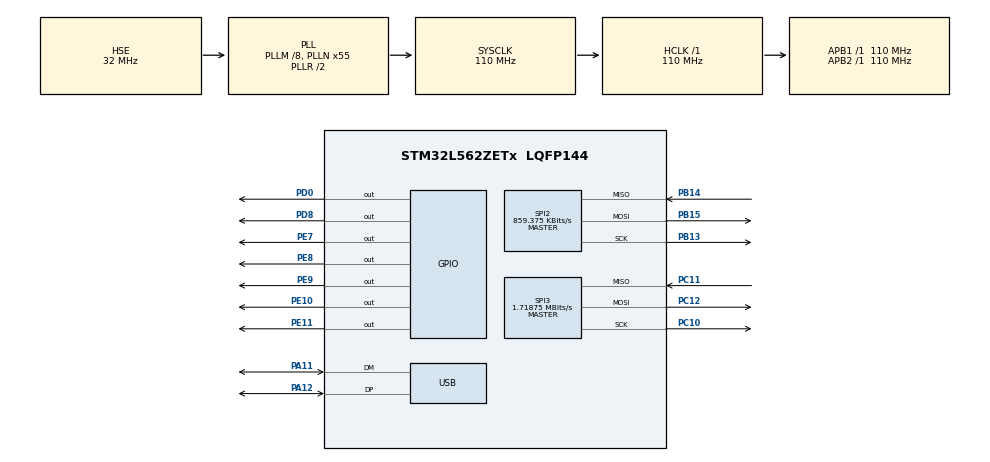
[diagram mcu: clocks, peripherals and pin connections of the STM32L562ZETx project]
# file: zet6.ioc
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Mcu.Family=STM32L5
Mcu.Name=STM32L562ZETx
Mcu.Package=LQFP144
NVIC.ICACHE_IRQn=true\:0\:0\:false\:false\:true\:true\:true\:true
NVIC.PriorityGroup=NVIC_PRIORITYGROUP_3
PA11.Mode=Device
PA11.Signal=USB_DM
PA12.Mode=Device
PA12.Signal=USB_DP
PB13.Mode=Full_Duplex_Master
PB13.Signal=SPI2_SCK
PB14.Mode=Full_Duplex_Master
PB14.Signal=SPI2_MISO
PB15.Mode=Full_Duplex_Master
PB15.Signal=SPI2_MOSI
PC10.Mode=Full_Duplex_Master
PC10.Signal=SPI3_SCK
PC11.Mode=Full_Duplex_Master
PC11.Signal=SPI3_MISO
PC12.Mode=Full_Duplex_Master
PC12.Signal=SPI3_MOSI
PD0.PinState=GPIO_PIN_SET
PD0.Signal=GPIO_Output
PD8.Signal=GPIO_Output
PE10.PinState=GPIO_PIN_RESET
PE10.Signal=GPIO_Output
PE11.PinState=GPIO_PIN_RESET
PE11.Signal=GPIO_Output
PE7.PinState=GPIO_PIN_RESET
PE7.Signal=GPIO_Output
PE8.PinState=GPIO_PIN_RESET
PE8.Signal=GPIO_Output
PE9.PinState=GPIO_PIN_RESET
PE9.Signal=GPIO_Output
PH0-OSC_IN\ (PH0).Mode=HSE-External-Oscillator
PH0-OSC_IN\ (PH0).Signal=RCC_OSC_IN
PH1-OSC_OUT\ (PH1).Mode=HSE-External-Oscillator
PH1-OSC_OUT\ (PH1).Signal=RCC_OSC_OUT
ProjectManager.HeapSize=0x200
ProjectManager.StackSize=0x400
ProjectManager.TargetToolchain=STM32CubeIDE
RCC.ADCFreq_Value=48000000
RCC.AHBFreq_Value=110000000
RCC.APB1Freq_Value=110000000
RCC.APB1TimFreq_Value=110000000
RCC.APB2Freq_Value=110000000
RCC.APB2TimFreq_Value=110000000
RCC.CK48CLockSelection=RCC_USBCLKSOURCE_HSI48
RCC.CortexFreq_Value=110000000
RCC.HCLKFreq_Value=110000000
RCC.HSE_VALUE=32000000
RCC.HSI48_VALUE=48000000
RCC.HSI_VALUE=16000000
RCC.LSE_VALUE=32768
RCC.MSI_VALUE=4000000
RCC.PLLM=8
RCC.PLLN=55
RCC.PLLSAI1N=24
RCC.PLLSourceVirtual=RCC_PLLSOURCE_HSE
RCC.SYSCLKFreq_VALUE=110000000
RCC.SYSCLKSource=RCC_SYSCLKSOURCE_PLLCLK
RCC.USBFreq_Value=48000000
RCC.VCOOutputFreq_Value=220000000
SPI2.BaudRatePrescaler=SPI_BAUDRATEPRESCALER_128
SPI2.CalculateBaudRate=859.375 KBits/s
SPI2.DataSize=SPI_DATASIZE_8BIT
SPI2.Direction=SPI_DIRECTION_2LINES
SPI2.Mode=SPI_MODE_MASTER
SPI2.NSSPMode=SPI_NSS_PULSE_DISABLE
SPI2.VirtualType=VM_MASTER
SPI3.BaudRatePrescaler=SPI_BAUDRATEPRESCALER_64
SPI3.CalculateBaudRate=1.71875 MBits/s
SPI3.DataSize=SPI_DATASIZE_8BIT
SPI3.Direction=SPI_DIRECTION_2LINES
SPI3.Mode=SPI_MODE_MASTER
SPI3.NSSPMode=SPI_NSS_PULSE_DISABLE
SPI3.VirtualType=VM_MASTER
VP_ICACHE_VS_ICACHE.Mode=DirectMappedCache
board=custom

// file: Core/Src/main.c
/* USER CODE BEGIN Header */
/**
  ******************************************************************************
  * @file           : main.c
  * @brief          : Main program body
  ******************************************************************************
  * @attention
  *
  * Copyright (c) 2023 STMicroelectronics.
  * All rights reserved.
  *
  * This software is licensed under terms that can be found in the LICENSE file
  * in the root directory of this software component.
  * If no LICENSE file comes with this software, it is provided AS-IS.
  *
  ******************************************************************************
  */
/* USER CODE END Header */
#include "main.h"

/* USER CODE BEGIN Includes */
#include <stdio.h>
/* USER CODE END Includes */

SPI_HandleTypeDef hspi2;
SPI_HandleTypeDef hspi3;

PCD_HandleTypeDef hpcd_USB_FS;

void SystemClock_Config(void);
static void MX_GPIO_Init(void);
static void MX_ICACHE_Init(void);
static void MX_USB_PCD_Init(void);
static void MX_SPI2_Init(void);
static void MX_SPI3_Init(void);

/* USER CODE BEGIN 0 */
//HAL_SPI_Transmit(&hspi2, )
/* USER CODE END 0 */

int main(void)
{
  /* USER CODE BEGIN 1 */
  char spi_buf[20] = {0};
  /* USER CODE END 1 */

  /* MCU Configuration--------------------------------------------------------*/

  /* Reset of all peripherals, Initializes the Flash interface and the Systick. */
  HAL_Init();

  /* Configure the system clock */
  SystemClock_Config();

  /* Initialize all configured peripherals */
  MX_GPIO_Init();
  MX_ICACHE_Init();
  MX_USB_PCD_Init();
  MX_SPI2_Init();
  MX_SPI3_Init();
  /* USER CODE BEGIN 2 */
  HAL_GPIO_WritePin(GPIOE,GPIO_PIN_7, GPIO_PIN_SET);

  //Powerup transceiver chip
  uint8_t command[8] = {0x02,0x01,0x00,0x01,0xC9,0xC3,0x80};
  HAL_GPIO_WritePin(GPIOD,GPIO_PIN_0, GPIO_PIN_RESET);
  HAL_SPI_Transmit(&hspi2,(uint8_t*)&command,7,100);
  HAL_GPIO_WritePin(GPIOD,GPIO_PIN_0, GPIO_PIN_SET);

  HAL_GPIO_WritePin(GPIOD,GPIO_PIN_0, GPIO_PIN_RESET);
  HAL_SPI_Receive(&hspi2, (uint8_t*)spi_buf,1,100);
  HAL_GPIO_WritePin(GPIOD,GPIO_PIN_0, GPIO_PIN_SET);

  //Check transceiver is on
  command[0] = 0x01;
  HAL_GPIO_WritePin(GPIOD,GPIO_PIN_0, GPIO_PIN_RESET);
  HAL_SPI_Transmit(&hspi2,(uint8_t*)&command,1,100);
  HAL_GPIO_WritePin(GPIOD,GPIO_PIN_0, GPIO_PIN_SET);

  HAL_GPIO_WritePin(GPIOD,GPIO_PIN_0, GPIO_PIN_RESET);
  HAL_SPI_Receive(&hspi2, (uint8_t*)spi_buf,9,100);
  HAL_GPIO_WritePin(GPIOD,GPIO_PIN_0, GPIO_PIN_SET);

  /* USER CODE END 2 */

  /* Infinite loop */
  /* USER CODE BEGIN WHILE */
  while (1)
  {
	  HAL_GPIO_WritePin(GPIOE,GPIO_PIN_7, GPIO_PIN_SET);
	  HAL_Delay(100);
	  HAL_GPIO_WritePin(GPIOE,GPIO_PIN_8, GPIO_PIN_SET);
	  HAL_Delay(100);
	  HAL_GPIO_WritePin(GPIOE,GPIO_PIN_9, GPIO_PIN_SET);
	  HAL_Delay(100);
	  HAL_GPIO_WritePin(GPIOE,GPIO_PIN_10, GPIO_PIN_SET);
	  HAL_Delay(100);
	  HAL_GPIO_WritePin(GPIOE,GPIO_PIN_11, GPIO_PIN_SET);
	  HAL_Delay(100);

	  HAL_GPIO_WritePin(GPIOE,GPIO_PIN_7, GPIO_PIN_RESET);
	  HAL_Delay(100);
	  HAL_GPIO_WritePin(GPIOE,GPIO_PIN_8, GPIO_PIN_RESET);
	  HAL_Delay(100);
	  HAL_GPIO_WritePin(GPIOE,GPIO_PIN_9, GPIO_PIN_RESET);
	  HAL_Delay(100);
	  HAL_GPIO_WritePin(GPIOE,GPIO_PIN_10, GPIO_PIN_RESET);
	  HAL_Delay(100);
	  HAL_GPIO_WritePin(GPIOE,GPIO_PIN_11, GPIO_PIN_RESET);
	  HAL_Delay(100);
    /* USER CODE END WHILE */

  }
}

void SystemClock_Config(void)
{
  RCC_OscInitTypeDef RCC_OscInitStruct = {0};
  RCC_ClkInitTypeDef RCC_ClkInitStruct = {0};

  /** Configure the main internal regulator output voltage
  */
  if (HAL_PWREx_ControlVoltageScaling(PWR_REGULATOR_VOLTAGE_SCALE0) != HAL_OK)
  {
    Error_Handler();
  }

  /** Initializes the RCC Oscillators according to the specified parameters
  * in the RCC_OscInitTypeDef structure.
  */
  RCC_OscInitStruct.OscillatorType = RCC_OSCILLATORTYPE_HSI48|RCC_OSCILLATORTYPE_HSE;
  RCC_OscInitStruct.HSEState = RCC_HSE_ON;
  RCC_OscInitStruct.HSI48State = RCC_HSI48_ON;
  RCC_OscInitStruct.PLL.PLLState = RCC_PLL_ON;
  RCC_OscInitStruct.PLL.PLLSource = RCC_PLLSOURCE_HSE;
  RCC_OscInitStruct.PLL.PLLM = 8;
  RCC_OscInitStruct.PLL.PLLN = 55;
  RCC_OscInitStruct.PLL.PLLP = RCC_PLLP_DIV7;
  RCC_OscInitStruct.PLL.PLLQ = RCC_PLLQ_DIV2;
  RCC_OscInitStruct.PLL.PLLR = RCC_PLLR_DIV2;
  if (HAL_RCC_OscConfig(&RCC_OscInitStruct) != HAL_OK)
  {
    Error_Handler();
  }

  /** Initializes the CPU, AHB and APB buses clocks
  */
  RCC_ClkInitStruct.ClockType = RCC_CLOCKTYPE_HCLK|RCC_CLOCKTYPE_SYSCLK
                              |RCC_CLOCKTYPE_PCLK1|RCC_CLOCKTYPE_PCLK2;
  RCC_ClkInitStruct.SYSCLKSource = RCC_SYSCLKSOURCE_PLLCLK;
  RCC_ClkInitStruct.AHBCLKDivider = RCC_SYSCLK_DIV1;
  RCC_ClkInitStruct.APB1CLKDivider = RCC_HCLK_DIV1;
  RCC_ClkInitStruct.APB2CLKDivider = RCC_HCLK_DIV1;

  if (HAL_RCC_ClockConfig(&RCC_ClkInitStruct, FLASH_LATENCY_5) != HAL_OK)
  {
    Error_Handler();
  }
}

static void MX_ICACHE_Init(void)
{

  /** Enable instruction cache in 1-way (direct mapped cache)
  */
  if (HAL_ICACHE_ConfigAssociativityMode(ICACHE_1WAY) != HAL_OK)
  {
    Error_Handler();
  }
  if (HAL_ICACHE_Enable() != HAL_OK)
  {
    Error_Handler();
  }

}

static void MX_SPI2_Init(void)
{

  /* SPI2 parameter configuration*/
  hspi2.Instance = SPI2;
  hspi2.Init.Mode = SPI_MODE_MASTER;
  hspi2.Init.Direction = SPI_DIRECTION_2LINES;
  hspi2.Init.DataSize = SPI_DATASIZE_8BIT;
  hspi2.Init.CLKPolarity = SPI_POLARITY_LOW;
  hspi2.Init.CLKPhase = SPI_PHASE_1EDGE;
  hspi2.Init.NSS = SPI_NSS_SOFT;
  hspi2.Init.BaudRatePrescaler = SPI_BAUDRATEPRESCALER_128;
  hspi2.Init.FirstBit = SPI_FIRSTBIT_MSB;
  hspi2.Init.TIMode = SPI_TIMODE_DISABLE;
  hspi2.Init.CRCCalculation = SPI_CRCCALCULATION_DISABLE;
  hspi2.Init.CRCPolynomial = 7;
  hspi2.Init.CRCLength = SPI_CRC_LENGTH_DATASIZE;
  hspi2.Init.NSSPMode = SPI_NSS_PULSE_DISABLE;
  if (HAL_SPI_Init(&hspi2) != HAL_OK)
  {
    Error_Handler();
  }

}

static void MX_SPI3_Init(void)
{

  /* SPI3 parameter configuration*/
  hspi3.Instance = SPI3;
  hspi3.Init.Mode = SPI_MODE_MASTER;
  hspi3.Init.Direction = SPI_DIRECTION_2LINES;
  hspi3.Init.DataSize = SPI_DATASIZE_8BIT;
  hspi3.Init.CLKPolarity = SPI_POLARITY_LOW;
  hspi3.Init.CLKPhase = SPI_PHASE_1EDGE;
  hspi3.Init.NSS = SPI_NSS_SOFT;
  hspi3.Init.BaudRatePrescaler = SPI_BAUDRATEPRESCALER_64;
  hspi3.Init.FirstBit = SPI_FIRSTBIT_MSB;
  hspi3.Init.TIMode = SPI_TIMODE_DISABLE;
  hspi3.Init.CRCCalculation = SPI_CRCCALCULATION_DISABLE;
  hspi3.Init.CRCPolynomial = 7;
  hspi3.Init.CRCLength = SPI_CRC_LENGTH_DATASIZE;
  hspi3.Init.NSSPMode = SPI_NSS_PULSE_DISABLE;
  if (HAL_SPI_Init(&hspi3) != HAL_OK)
  {
    Error_Handler();
  }

}

static void MX_USB_PCD_Init(void)
{

  hpcd_USB_FS.Instance = USB;
  hpcd_USB_FS.Init.dev_endpoints = 8;
  hpcd_USB_FS.Init.speed = PCD_SPEED_FULL;
  hpcd_USB_FS.Init.phy_itface = PCD_PHY_EMBEDDED;
  hpcd_USB_FS.Init.Sof_enable = DISABLE;
  hpcd_USB_FS.Init.low_power_enable = DISABLE;
  hpcd_USB_FS.Init.lpm_enable = DISABLE;
  hpcd_USB_FS.Init.battery_charging_enable = DISABLE;
  if (HAL_PCD_Init(&hpcd_USB_FS) != HAL_OK)
  {
    Error_Handler();
  }

}

static void MX_GPIO_Init(void)
{
  GPIO_InitTypeDef GPIO_InitStruct = {0};

  /* GPIO Ports Clock Enable */
  __HAL_RCC_GPIOH_CLK_ENABLE();
  __HAL_RCC_GPIOE_CLK_ENABLE();
  __HAL_RCC_GPIOB_CLK_ENABLE();
  __HAL_RCC_GPIOD_CLK_ENABLE();
  __HAL_RCC_GPIOA_CLK_ENABLE();
  __HAL_RCC_GPIOC_CLK_ENABLE();

  /*Configure GPIO pin Output Level */
  HAL_GPIO_WritePin(GPIOE, GPIO_PIN_7|GPIO_PIN_8|GPIO_PIN_9|GPIO_PIN_10
                          |GPIO_PIN_11, GPIO_PIN_RESET);

  /*Configure GPIO pin Output Level */
  HAL_GPIO_WritePin(GPIOD, GPIO_PIN_8, GPIO_PIN_RESET);

  /*Configure GPIO pin Output Level */
  HAL_GPIO_WritePin(GPIOD, GPIO_PIN_0, GPIO_PIN_SET);

  /*Configure GPIO pins : PE7 PE8 PE9 PE10
                           PE11 */
  GPIO_InitStruct.Pin = GPIO_PIN_7|GPIO_PIN_8|GPIO_PIN_9|GPIO_PIN_10
                          |GPIO_PIN_11;
  GPIO_InitStruct.Mode = GPIO_MODE_OUTPUT_PP;
  GPIO_InitStruct.Pull = GPIO_NOPULL;
  GPIO_InitStruct.Speed = GPIO_SPEED_FREQ_LOW;
  HAL_GPIO_Init(GPIOE, &GPIO_InitStruct);

  /*Configure GPIO pins : PD8 PD0 */
  GPIO_InitStruct.Pin = GPIO_PIN_8|GPIO_PIN_0;
  GPIO_InitStruct.Mode = GPIO_MODE_OUTPUT_PP;
  GPIO_InitStruct.Pull = GPIO_NOPULL;
  GPIO_InitStruct.Speed = GPIO_SPEED_FREQ_LOW;
  HAL_GPIO_Init(GPIOD, &GPIO_InitStruct);

}

void Error_Handler(void)
{
  __disable_irq();
  while (1)
  {
  }
}
